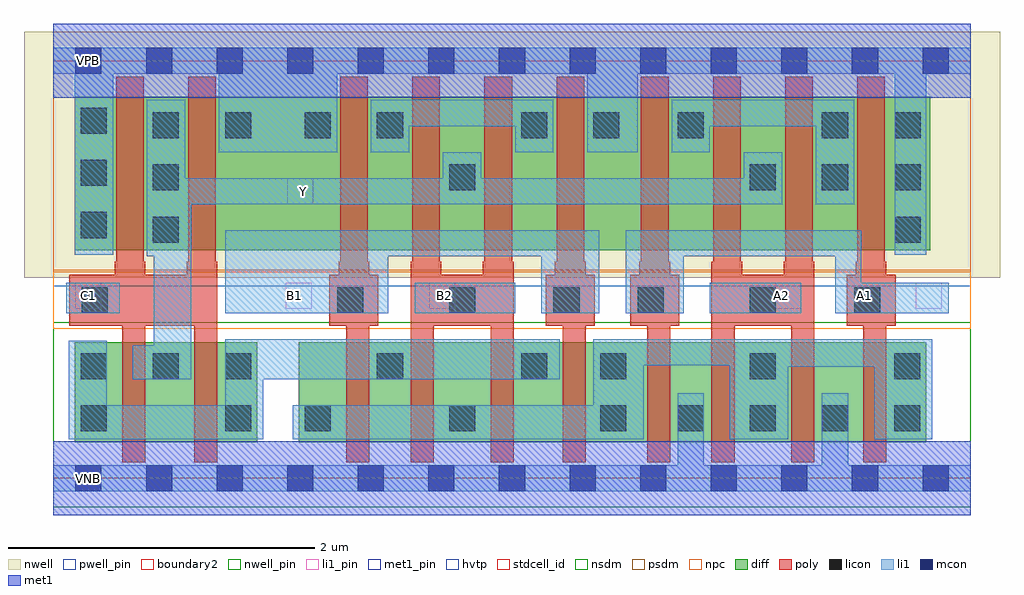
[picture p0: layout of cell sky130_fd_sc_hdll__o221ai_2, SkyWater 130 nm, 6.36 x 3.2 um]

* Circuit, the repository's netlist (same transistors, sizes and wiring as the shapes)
* Copyright 2020 The SkyWater PDK Authors
*
* Licensed under the Apache License, Version 2.0 (the "License");
* you may not use this file except in compliance with the License.
* You may obtain a copy of the License at
*
*     https://www.apache.org/licenses/LICENSE-2.0
*
* Unless required by applicable law or agreed to in writing, software
* distributed under the License is distributed on an "AS IS" BASIS,
* WITHOUT WARRANTIES OR CONDITIONS OF ANY KIND, either express or implied.
* See the License for the specific language governing permissions and
* limitations under the License.
*
* SPDX-License-Identifier: Apache-2.0

.SUBCKT sky130_fd_sc_hdll__o221ai_2 A1 A2 B1 B2 C1 VGND VNB VPB VPWR Y
*.PININFO A1:I A2:I B1:I B2:I C1:I VGND:I VNB:I VPB:I VPWR:I Y:O
MMPA0 VPWR A1 sndA1 VPB sky130_fd_pr__pfet_01v8_hvt m=2 w=1.0U l=0.18U mult=1 sa=0.265
+ sb=0.265 sd=0.28 area=0.063 perim=1.14
MMPA1 sndA1 A2 Y VPB sky130_fd_pr__pfet_01v8_hvt m=2 w=1.0U l=0.18U mult=1 sa=0.265
+ sb=0.265 sd=0.28 area=0.063 perim=1.14
MMPB0 VPWR B1 sndB1 VPB sky130_fd_pr__pfet_01v8_hvt m=2 w=1.0U l=0.18U mult=1 sa=0.265
+ sb=0.265 sd=0.28 area=0.063 perim=1.14
MMPB1 sndB1 B2 Y VPB sky130_fd_pr__pfet_01v8_hvt m=2 w=1.0U l=0.18U mult=1 sa=0.265
+ sb=0.265 sd=0.28 area=0.063 perim=1.14
MMPC0 VPWR C1 Y VPB sky130_fd_pr__pfet_01v8_hvt m=2 w=1.0U l=0.18U mult=1 sa=0.265
+ sb=0.265 sd=0.28 area=0.063 perim=1.14
MMNA0 pndA A1 VGND VNB sky130_fd_pr__nfet_01v8 m=2 w=0.65U l=0.15U mult=1 sa=0.265
+ sb=0.265 sd=0.28 area=0.063 perim=1.14
MMNA1 pndA A2 VGND VNB sky130_fd_pr__nfet_01v8 m=2 w=0.65U l=0.15U mult=1 sa=0.265
+ sb=0.265 sd=0.28 area=0.063 perim=1.14
MMNB0 pndB B1 pndA VNB sky130_fd_pr__nfet_01v8 m=2 w=0.65U l=0.15U mult=1 sa=0.265
+ sb=0.265 sd=0.28 area=0.063 perim=1.14
MMNB1 pndB B2 pndA VNB sky130_fd_pr__nfet_01v8 m=2 w=0.65U l=0.15U mult=1 sa=0.265
+ sb=0.265 sd=0.28 area=0.063 perim=1.14
MMNC0 Y C1 pndB VNB sky130_fd_pr__nfet_01v8 m=2 w=0.65U l=0.15U mult=1 sa=0.265
+ sb=0.265 sd=0.28 area=0.063 perim=1.14
.ENDS sky130_fd_sc_hdll__o221ai_2

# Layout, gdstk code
import gdstk
lib = gdstk.Library(unit=1e-6, precision=1e-09)
def R(c, l, rs):  # rectangles x0, y0, x1, y1
    for r in rs: c.add(gdstk.rectangle(r[:2], r[2:], *l))
def A(c, l, x, y, w, h, nx, ny, dx, dy):  # array of equal rectangles
    R(c, l, [(x+i*dx, y+j*dy, x+i*dx+w, y+j*dy+h) for i in range(nx) for j in range(ny)])
def P(c, l, *ps):  # polygons
    for p in ps: c.add(gdstk.Polygon(p, *l))
nwell_pin = (64, 16)
nwell = (64, 20)
diff = (65, 20)
poly = (66, 20)
licon = (66, 44)
li1_pin = (67, 16)
li1 = (67, 20)
mcon = (67, 44)
met1_pin = (68, 16)
met1 = (68, 20)
hvtp = (78, 44)
stdcell_id = (81, 4)
nsdm = (93, 44)
psdm = (94, 20)
npc = (95, 20)
pwell_pin = (122, 16)
boundary2 = (236, 0)

sky130_fd_sc_hdll__o221a = lib.new_cell('sky130_fd_sc_hdll__o221ai_2')
R(sky130_fd_sc_hdll__o221a, nwell_pin, [(0.145,2.635,0.315,2.805)])
R(sky130_fd_sc_hdll__o221a, nwell, [(-0.19,1.305,6.17,2.91)])
R(sky130_fd_sc_hdll__o221a, diff, [(0.14,0.235,1.33,0.885), (1.6,0.235,5.69,0.885), (0.14,1.485,5.715,2.485)])
P(sky130_fd_sc_hdll__o221a, poly, [(1.07,1.41),(1.06,1.41),(1.06,2.615),(0.88,2.615),(0.88,1.41),(0.87,1.41),(0.87,1.325),(0.6,1.325),(0.6,1.41),(0.59,1.41),(0.59,2.615),(0.41,2.615),(0.41,1.41),(0.4,1.41),(0.4,1.325),(0.105,1.325),(0.105,0.995),(0.45,0.995),(0.45,0.105),(0.6,0.105),(0.6,0.995),(0.92,0.995),(0.92,0.105),(1.07,0.105)],
  [(2.12,1.325),(2.06,1.325),(2.06,1.41),(2.05,1.41),(2.05,2.615),(1.87,2.615),(1.87,1.41),(1.86,1.41),(1.86,1.325),(1.8,1.325),(1.8,0.995),(1.91,0.995),(1.91,0.105),(2.06,0.105),(2.06,0.995),(2.12,0.995)],
  [(3,1.41),(2.99,1.41),(2.99,2.615),(2.81,2.615),(2.81,1.41),(2.8,1.41),(2.8,1.325),(2.53,1.325),(2.53,1.41),(2.52,1.41),(2.52,2.615),(2.34,2.615),(2.34,1.41),(2.33,1.41),(2.33,0.105),(2.48,0.105),(2.48,0.995),(2.85,0.995),(2.85,0.105),(3,0.105)],
  [(3.53,1.325),(3.47,1.325),(3.47,1.41),(3.46,1.41),(3.46,2.615),(3.28,2.615),(3.28,1.41),(3.27,1.41),(3.27,1.325),(3.21,1.325),(3.21,0.995),(3.32,0.995),(3.32,0.105),(3.47,0.105),(3.47,0.995),(3.53,0.995)],
  [(4.08,1.325),(4.02,1.325),(4.02,1.41),(4.01,1.41),(4.01,2.615),(3.83,2.615),(3.83,1.41),(3.82,1.41),(3.82,1.325),(3.76,1.325),(3.76,0.995),(3.87,0.995),(3.87,0.105),(4.02,0.105),(4.02,0.995),(4.08,0.995)],
  [(4.96,1.41),(4.95,1.41),(4.95,2.615),(4.77,2.615),(4.77,1.41),(4.76,1.41),(4.76,1.325),(4.49,1.325),(4.49,1.41),(4.48,1.41),(4.48,2.615),(4.3,2.615),(4.3,1.41),(4.29,1.41),(4.29,0.105),(4.44,0.105),(4.44,0.995),(4.81,0.995),(4.81,0.105),(4.96,0.105)],
  [(5.49,1.325),(5.43,1.325),(5.43,1.41),(5.42,1.41),(5.42,2.615),(5.24,2.615),(5.24,1.41),(5.23,1.41),(5.23,1.325),(5.17,1.325),(5.17,0.995),(5.28,0.995),(5.28,0.105),(5.43,0.105),(5.43,0.995),(5.49,0.995)])
A(sky130_fd_sc_hdll__o221a, licon, 4.07, 0.305, 0.17, 0.17, 4, 1, 0.47, 0)
A(sky130_fd_sc_hdll__o221a, licon, 0.18, 0.645, 0.17, 0.17, 3, 1, 0.47, 0)
A(sky130_fd_sc_hdll__o221a, licon, 0.65, 1.535, 0.17, 0.17, 1, 3, 0, 0.34)
A(sky130_fd_sc_hdll__o221a, licon, 5.485, 1.535, 0.17, 0.17, 1, 3, 0, 0.34)
A(sky130_fd_sc_hdll__o221a, licon, 0.18, 1.565, 0.17, 0.17, 1, 3, 0, 0.34)
R(sky130_fd_sc_hdll__o221a, licon, [(0.18,0.305,0.35,0.475), (1.12,0.305,1.29,0.475), (1.64,0.305,1.81,0.475), (2.58,0.305,2.75,0.475), (3.565,0.305,3.735,0.475), (2.11,0.645,2.28,0.815), (3.05,0.645,3.22,0.815), (3.565,0.645,3.735,0.815), (4.54,0.645,4.71,0.815), (5.48,0.645,5.65,0.815), (0.185,1.075,0.355,1.245), (1.85,1.075,2.02,1.245), (2.58,1.075,2.75,1.245), (3.26,1.075,3.43,1.245), (3.81,1.075,3.98,1.245), (4.54,1.075,4.71,1.245), (5.22,1.075,5.39,1.245), (2.58,1.875,2.75,2.045), (4.54,1.875,4.71,2.045), (5.01,1.875,5.18,2.045), (1.12,2.215,1.29,2.385), (1.64,2.215,1.81,2.385), (2.11,2.215,2.28,2.385), (3.05,2.215,3.22,2.385), (3.52,2.215,3.69,2.385), (4.07,2.215,4.24,2.385), (5.01,2.215,5.18,2.385)])
R(sky130_fd_sc_hdll__o221a, li1_pin, [(0.145,1.105,0.315,1.275), (1.515,1.105,1.685,1.275), (2.45,1.105,2.62,1.275), (4.705,1.105,4.875,1.275), (5.62,1.105,5.79,1.275), (1.525,1.785,1.695,1.955)])
R(sky130_fd_sc_hdll__o221a, li1, [(0.085,1.075,0.435,1.275), (2.355,1.075,3.01,1.275), (4.28,1.075,4.875,1.275)])
P(sky130_fd_sc_hdll__o221a, li1, [(5.98,0.085),(5.18,0.085),(5.18,0.555),(5.01,0.555),(5.01,0.085),(4.24,0.085),(4.24,0.555),(4.07,0.555),(4.07,0.085),(0,0.085),(0,-0.085),(5.98,-0.085)],
  [(5.98,2.805),(0,2.805),(0,2.635),(0.14,2.635),(0.14,1.455),(0.39,1.455),(0.39,2.635),(1.08,2.635),(1.08,2.125),(1.85,2.125),(1.85,2.635),(3.48,2.635),(3.48,2.125),(3.81,2.125),(3.81,2.635),(5.485,2.635),(5.485,1.455),(5.69,1.455),(5.69,2.635),(5.98,2.635)],
  [(3.26,2.465),(2.07,2.465),(2.07,2.125),(2.32,2.125),(2.32,2.295),(3.01,2.295),(3.01,2.125),(3.26,2.125)],
  [(3.3,0.905),(1.12,0.905),(1.12,0.475),(0.35,0.475),(0.35,0.895),(0.1,0.895),(0.1,0.255),(1.37,0.255),(1.37,0.645),(3.3,0.645)],
  [(3.56,1.615),(1.12,1.615),(1.12,1.075),(2.185,1.075),(2.185,1.445),(3.18,1.445),(3.18,1.075),(3.56,1.075)],
  [(4.75,2.125),(4.5,2.125),(4.5,1.955),(2.79,1.955),(2.79,2.125),(2.54,2.125),(2.54,1.955),(0.86,1.955),(0.86,2.465),(0.61,2.465),(0.61,1.445),(0.655,1.445),(0.655,0.865),(0.52,0.865),(0.52,0.645),(0.9,0.645),(0.9,1.785),(4.75,1.785)],
  [(5.22,2.465),(4.03,2.465),(4.03,2.125),(4.28,2.125),(4.28,2.295),(4.97,2.295),(4.97,1.785),(5.22,1.785)],
  [(5.73,0.905),(3.52,0.905),(3.52,0.475),(1.56,0.475),(1.56,0.255),(3.85,0.255),(3.85,0.735),(4.41,0.735),(4.41,0.255),(4.79,0.255),(4.79,0.725),(5.35,0.725),(5.35,0.255),(5.73,0.255)],
  [(5.835,1.275),(5.265,1.275),(5.265,1.615),(3.73,1.615),(3.73,1.075),(4.11,1.075),(4.11,1.445),(5.095,1.445),(5.095,1.075),(5.835,1.075)])
A(sky130_fd_sc_hdll__o221a, mcon, 0.145, -0.085, 0.17, 0.17, 13, 2, 0.46, 2.72)
R(sky130_fd_sc_hdll__o221a, met1_pin, [(0.145,-0.085,0.315,0.085), (0.145,2.635,0.315,2.805)])
R(sky130_fd_sc_hdll__o221a, met1, [(0,-0.24,5.98,0.24), (0,2.48,5.98,2.96)])
R(sky130_fd_sc_hdll__o221a, hvtp, [(0,1.25,5.98,2.72)])
R(sky130_fd_sc_hdll__o221a, stdcell_id, [(0,0,5.98,2.72)])
R(sky130_fd_sc_hdll__o221a, nsdm, [(0,-0.19,5.98,1.015)])
R(sky130_fd_sc_hdll__o221a, psdm, [(0,1.355,5.98,2.91)])
R(sky130_fd_sc_hdll__o221a, npc, [(0,0.975,5.98,1.345)])
R(sky130_fd_sc_hdll__o221a, pwell_pin, [(0.145,-0.085,0.315,0.085)])
R(sky130_fd_sc_hdll__o221a, boundary2, [(0,0,5.98,2.72)])
sky130_fd_sc_hdll__o221a.add(gdstk.Label('B1', (1.57,1.19), layer=67, texttype=5))
sky130_fd_sc_hdll__o221a.add(gdstk.Label('B2', (2.55,1.19), layer=67, texttype=5))
sky130_fd_sc_hdll__o221a.add(gdstk.Label('Y', (1.63,1.87), layer=67, texttype=5))
sky130_fd_sc_hdll__o221a.add(gdstk.Label('A2', (4.745,1.19), layer=67, texttype=5))
sky130_fd_sc_hdll__o221a.add(gdstk.Label('A1', (5.29,1.19), layer=67, texttype=5))
sky130_fd_sc_hdll__o221a.add(gdstk.Label('C1', (0.23,1.19), layer=67, texttype=5))
sky130_fd_sc_hdll__o221a.add(gdstk.Label('VNB', (0.23,0), layer=64, texttype=59))
sky130_fd_sc_hdll__o221a.add(gdstk.Label('VPB', (0.23,2.72), layer=64, texttype=5))
sky130_fd_sc_hdll__o221a.add(gdstk.Label('VGND', (0.23,0), layer=68, texttype=5))
sky130_fd_sc_hdll__o221a.add(gdstk.Label('VPWR', (0.23,2.72), layer=68, texttype=5))
sky130_fd_sc_hdll__o221a.add(gdstk.Label('o221ai_2', (0,0), layer=83, texttype=44))

lib.write_gds('sky130_fd_sc_hdll__o221ai_2.gds')
